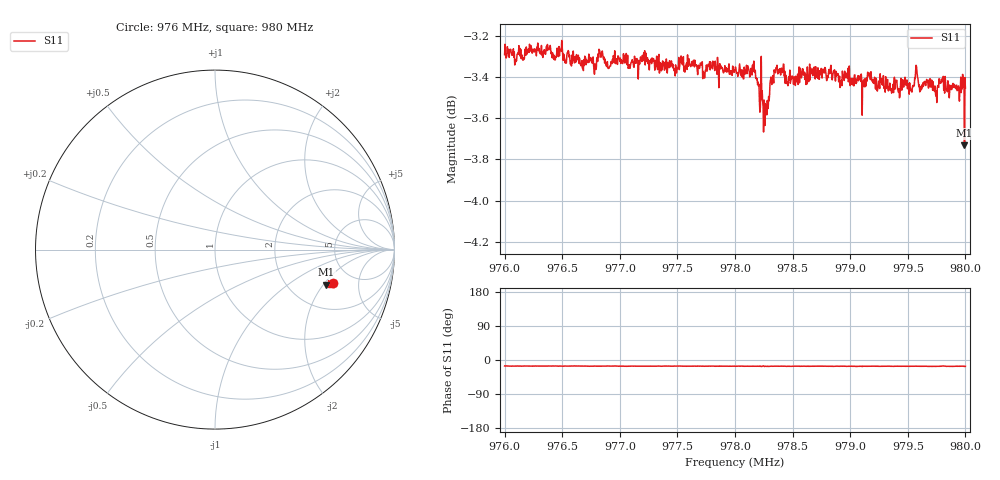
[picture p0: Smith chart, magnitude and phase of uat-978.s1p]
! Calibrated averaged scanner-service zoom
# Hz S RI R 50
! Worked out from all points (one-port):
!   1001 points, 976 MHz to 980 MHz, reference 50 ohm
!   lowest |S11| = -3.7 dB at 979.992 MHz (marker M1), VSWR 4.73, Z = 159 - j107 ohm
!   |S11| at or under -10 dB: nowhere
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9.76e8  0.659 -0.1857
9.76064e8  0.6579 -0.1886
9.765e8  0.6609 -0.1891
9.7662e8  0.656 -0.1861
9.76736e8  0.6534 -0.1946
9.76832e8  0.6576 -0.1924
9.769e8  0.6534 -0.1861
9.77e8  0.6547 -0.1914
9.775e8  0.6533 -0.1857
9.77592e8  0.6533 -0.1932
9.78e8  0.6518 -0.1888
9.7816e8  0.6528 -0.1935
9.78268e8  0.6373 -0.1891
9.78348e8  0.6509 -0.1902
9.785e8  0.6482 -0.191
9.78764e8  0.6507 -0.1919
9.7884e8  0.6501 -0.1906
9.79e8  0.6455 -0.1899
9.79064e8  0.6473 -0.1941
9.792e8  0.6468 -0.189
9.795e8  0.6444 -0.1897
9.79572e8  0.6529 -0.1923
9.79608e8  0.6428 -0.1939
9.797e8  0.644 -0.1931
9.79804e8  0.6488 -0.1845
9.79876e8  0.6446 -0.1922
9.79992e8  0.621 -0.1945
9.8e8  0.6437 -0.1927
